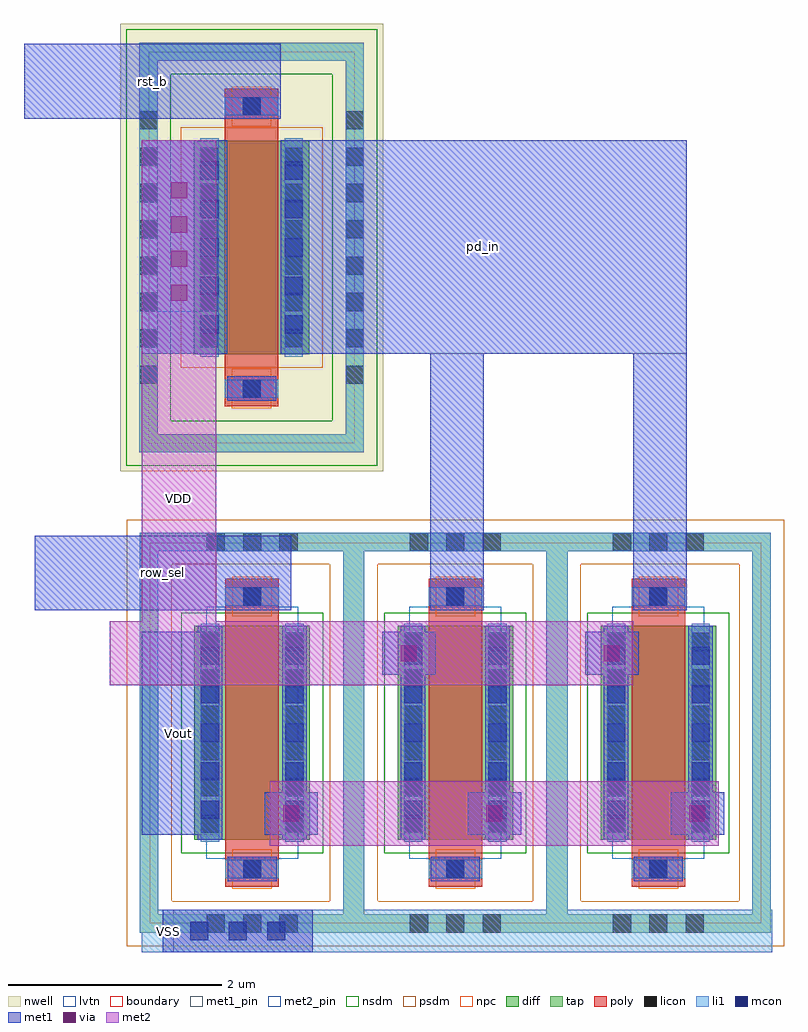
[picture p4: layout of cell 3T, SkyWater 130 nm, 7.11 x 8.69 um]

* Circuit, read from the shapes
.subckt 3T VDD VSS Vout pd_in row_sel rst_b
XM1 n1 row_sel Vout VSS sky130_fd_pr__nfet_01v8_lvt w=2 l=0.5
XM2 n1 pd_in VDD VSS sky130_fd_pr__nfet_01v8_lvt w=2 l=0.5 m=2
XM3 pd_in rst_b VDD VDD sky130_fd_pr__pfet_01v8 w=2 l=0.5
.ends

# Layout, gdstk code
import gdstk
lib = gdstk.Library(unit=1e-6, precision=1e-09)
def R(c, l, rs):  # rectangles x0, y0, x1, y1
    for r in rs: c.add(gdstk.rectangle(r[:2], r[2:], *l))
def A(c, l, x, y, w, h, nx, ny, dx, dy):  # array of equal rectangles
    R(c, l, [(x+i*dx, y+j*dy, x+i*dx+w, y+j*dy+h) for i in range(nx) for j in range(ny)])
nwell = (64, 20)
diff = (65, 20)
tap = (65, 44)
poly = (66, 20)
licon = (66, 44)
li1 = (67, 20)
mcon = (67, 44)
met1_pin = (68, 16)
met1 = (68, 20)
via = (68, 44)
met2_pin = (69, 16)
met2 = (69, 20)
nsdm = (93, 44)
psdm = (94, 20)
npc = (95, 20)
lvtn = (125, 44)
boundary = (235, 4)

sky130_fd_pr__pfet_01v8_ = lib.new_cell('sky130_fd_pr__pfet_01v8_LDYTSD')
R(sky130_fd_pr__pfet_01v8_, nwell, [(-1.23,-2.095,1.23,2.095)])
R(sky130_fd_pr__pfet_01v8_, diff, [(-0.54,-1,0.54,1)])
R(sky130_fd_pr__pfet_01v8_, tap, [(-1.05,-1.915,1.05,-1.745), (-1.05,-1.745,-0.88,1.745), (0.88,-1.745,1.05,1.745), (-1.05,1.745,1.05,1.915)])
R(sky130_fd_pr__pfet_01v8_, poly, [(-0.25,-1.485,0.25,1.485)])
A(sky130_fd_pr__pfet_01v8_, licon, -1.05, -1.275, 0.17, 0.17, 1, 8, 0, 0.34)
A(sky130_fd_pr__pfet_01v8_, licon, 0.88, -1.275, 0.17, 0.17, 1, 8, 0, 0.34)
A(sky130_fd_pr__pfet_01v8_, licon, -0.48, -0.935, 0.17, 0.17, 1, 6, 0, 0.34)
A(sky130_fd_pr__pfet_01v8_, licon, 0.31, -0.935, 0.17, 0.17, 1, 6, 0, 0.34)
R(sky130_fd_pr__pfet_01v8_, licon, [(-0.085,-1.405,0.085,-1.235), (-0.085,1.235,0.085,1.405)])
R(sky130_fd_pr__pfet_01v8_, li1, [(-1.05,-1.915,1.05,-1.745), (-1.05,-1.745,-0.88,1.745), (0.88,-1.745,1.05,1.745), (-0.25,-1.405,0.25,-1.235), (-0.48,-1.02,-0.31,1.02), (0.31,-1.02,0.48,1.02), (-0.25,1.235,0.25,1.405), (-1.05,1.745,1.05,1.915)])
A(sky130_fd_pr__pfet_01v8_, mcon, -0.48, -0.805, 0.17, 0.17, 1, 5, 0, 0.36)
A(sky130_fd_pr__pfet_01v8_, mcon, 0.31, -0.805, 0.17, 0.17, 1, 5, 0, 0.36)
R(sky130_fd_pr__pfet_01v8_, mcon, [(-0.085,-1.405,0.085,-1.235), (-0.085,1.235,0.085,1.405)])
R(sky130_fd_pr__pfet_01v8_, met1, [(-0.23,-1.435,0.23,-1.205), (-0.51,-1,-0.28,1), (0.28,-1,0.51,1), (-0.23,1.205,0.23,1.435)])
R(sky130_fd_pr__pfet_01v8_, nsdm, [(-1.175,-2.04,1.175,-1.62), (-1.175,-1.62,-0.755,1.62), (0.755,-1.62,1.175,1.62), (-1.175,1.62,1.175,2.04)])
R(sky130_fd_pr__pfet_01v8_, psdm, [(-0.665,-1.125,0.665,1.125)])
R(sky130_fd_pr__pfet_01v8_, npc, [(-0.185,-1.505,0.185,-1.135), (-0.185,1.135,0.185,1.505)])
R(sky130_fd_pr__pfet_01v8_, boundary, [(-0.965,-1.83,0.965,1.83)])

sky130_fd_pr__nfet_01v8_ = lib.new_cell('sky130_fd_pr__nfet_01v8_lvt_WSE2Y6')
R(sky130_fd_pr__nfet_01v8_, diff, [(-0.54,-1,0.54,1)])
R(sky130_fd_pr__nfet_01v8_, tap, [(-1.05,-1.87,1.05,-1.7), (-1.05,-1.7,-0.88,1.7), (0.88,-1.7,1.05,1.7), (-1.05,1.7,1.05,1.87)])
R(sky130_fd_pr__nfet_01v8_, poly, [(-0.25,-1.44,0.25,1.44)])
A(sky130_fd_pr__nfet_01v8_, licon, -0.425, -1.87, 0.17, 0.17, 3, 2, 0.34, 3.57)
A(sky130_fd_pr__nfet_01v8_, licon, -0.48, -0.935, 0.17, 0.17, 1, 6, 0, 0.34)
A(sky130_fd_pr__nfet_01v8_, licon, 0.31, -0.935, 0.17, 0.17, 1, 6, 0, 0.34)
R(sky130_fd_pr__nfet_01v8_, licon, [(-0.085,-1.36,0.085,-1.19), (-0.085,1.19,0.085,1.36)])
R(sky130_fd_pr__nfet_01v8_, li1, [(-1.05,-1.87,1.05,-1.7), (-1.05,-1.7,-0.88,1.7), (0.88,-1.7,1.05,1.7), (-0.25,-1.36,0.25,-1.19), (-0.48,-1.02,-0.31,1.02), (0.31,-1.02,0.48,1.02), (-0.25,1.19,0.25,1.36), (-1.05,1.7,1.05,1.87)])
A(sky130_fd_pr__nfet_01v8_, mcon, -0.48, -0.805, 0.17, 0.17, 1, 5, 0, 0.36)
A(sky130_fd_pr__nfet_01v8_, mcon, 0.31, -0.805, 0.17, 0.17, 1, 5, 0, 0.36)
R(sky130_fd_pr__nfet_01v8_, mcon, [(-0.085,-1.36,0.085,-1.19), (-0.085,1.19,0.085,1.36)])
R(sky130_fd_pr__nfet_01v8_, met1, [(-0.23,-1.39,0.23,-1.16), (-0.51,-1,-0.28,1), (0.28,-1,0.51,1), (-0.23,1.16,0.23,1.39)])
R(sky130_fd_pr__nfet_01v8_, nsdm, [(-0.665,-1.125,0.665,1.125)])
R(sky130_fd_pr__nfet_01v8_, psdm, [(-1.175,-1.995,1.175,-1.575), (-1.175,-1.575,-0.755,1.575), (0.755,-1.575,1.175,1.575), (-1.175,1.575,1.175,1.995)])
R(sky130_fd_pr__nfet_01v8_, npc, [(-0.185,-1.46,0.185,-1.09), (-0.185,1.09,0.185,1.46)])
R(sky130_fd_pr__nfet_01v8_, lvtn, [(-0.43,-1.18,0.43,1.18)])
R(sky130_fd_pr__nfet_01v8_, boundary, [(-0.96,-1.78,0.96,1.78)])

c_3t = lib.new_cell('3T')
R(c_3t, li1, [(-0.3,-4.5,5.6,-4.1), (-0.3,1.1,0.4,3.1)])
A(c_3t, mcon, 0.155, -4.385, 0.17, 0.17, 3, 1, 0.36, 0)
R(c_3t, met1_pin, [(-0.1,-4.5,0,-4.1), (-0.3,-3.4,0.4,-1.5), (-1.3,-1.3,1.1,-0.6), (1,1.1,4.8,3.1), (-1.4,3.3,1,4)])
A(c_3t, met1, 0.85, -3.4, 0.5, 0.4, 3, 1, 1.9, 0)
R(c_3t, met1, [(-0.1,-4.5,1.3,-4.1), (-0.3,-3.4,0.4,-1.5), (1.95,-1.9,2.45,-1.5), (3.85,-1.9,4.35,-1.5), (-1.3,-1.3,1.1,-0.6), (2.4,-1.3,2.9,1.1), (4.3,-1.3,4.8,1.1), (-0.3,1.1,0.5,3.1), (1,1.1,4.8,3.1), (-1.4,3.3,1,4)])
A(c_3t, via, 1.025, -3.275, 0.15, 0.15, 3, 1, 1.9, 0)
A(c_3t, via, -0.025, 1.595, 0.15, 0.15, 1, 4, 0, 0.32)
R(c_3t, via, [(2.125,-1.775,2.275,-1.625), (4.025,-1.775,4.175,-1.625)])
R(c_3t, met2_pin, [(-0.3,-2,0.4,1.5)])
R(c_3t, met2, [(0.9,-3.5,5.1,-2.9), (-0.6,-2,4.3,-1.4), (-0.3,-1.4,0.4,3.1)])
c_3t.add(gdstk.Reference(sky130_fd_pr__pfet_01v8_, (0.73,2.095)))
c_3t.add(gdstk.Reference(sky130_fd_pr__nfet_01v8_, (4.535,-2.445)))
c_3t.add(gdstk.Reference(sky130_fd_pr__nfet_01v8_, (2.635,-2.445)))
c_3t.add(gdstk.Reference(sky130_fd_pr__nfet_01v8_, (0.735,-2.445)))
c_3t.add(gdstk.Label('Vout', (0.05,-2.45), layer=68, texttype=16))
c_3t.add(gdstk.Label('rst_b', (-0.2,3.65), layer=68, texttype=16))
c_3t.add(gdstk.Label('pd_in', (2.9,2.1), layer=68, texttype=16))
c_3t.add(gdstk.Label('VDD', (0.05,-0.25), layer=69, texttype=16))
c_3t.add(gdstk.Label('row_sel', (-0.1,-0.95), layer=68, texttype=16))
c_3t.add(gdstk.Label('VSS', (-0.05,-4.3), layer=68, texttype=16))

lib.write_gds('3T.gds')
